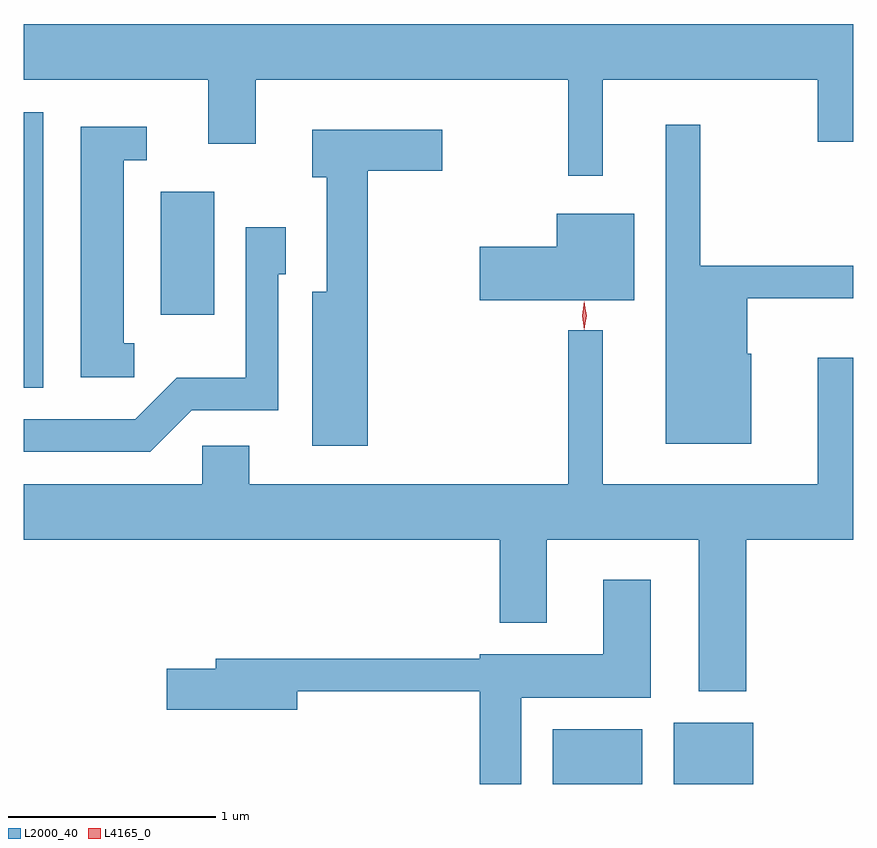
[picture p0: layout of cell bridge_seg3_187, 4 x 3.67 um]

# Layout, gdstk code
import gdstk
lib = gdstk.Library(unit=1e-6, precision=1e-09)
def R(c, l, rs):  # rectangles x0, y0, x1, y1
    for r in rs: c.add(gdstk.rectangle(r[:2], r[2:], *l))
def P(c, l, *ps):  # polygons
    for p in ps: c.add(gdstk.Polygon(p, *l))
L2000_40 = (2000, 40)
L4165_0 = (4165, 0)

bridge_seg3_187 = lib.new_cell('bridge_seg3_187')
R(bridge_seg3_187, L2000_40, [(873.136,1144.819,873.569,1145.084), (873.721,1144.819,874.104,1145.114), (870.586,1146.731,870.679,1148.059), (871.246,1147.081,871.504,1147.674)])
P(bridge_seg3_187, L2000_40, [(873.379,1148.216),(874.416,1148.216),(874.416,1147.916),(874.586,1147.916),(874.586,1148.484),(870.586,1148.484),(870.586,1148.216),(871.476,1148.216),(871.476,1147.906),(871.704,1147.906),(871.704,1148.216),(873.211,1148.216),(873.211,1147.753),(873.379,1147.753)],
  [(874.094,1146.894),(874.074,1146.894),(874.074,1147.161),(874.586,1147.161),(874.586,1147.319),(873.849,1147.319),(873.849,1147.998),(873.681,1147.998),(873.681,1146.461),(874.094,1146.461)],
  [(871.118,1146.944),(871.069,1146.944),(871.069,1147.826),(871.178,1147.826),(871.178,1147.989),(870.861,1147.989),(870.861,1146.781),(871.118,1146.781)],
  [(872.244,1147.776),(872.604,1147.776),(872.604,1147.974),(871.976,1147.974),(871.976,1147.746),(872.046,1147.746),(872.046,1147.194),(871.976,1147.194),(871.976,1146.451),(872.244,1146.451)],
  [(873.529,1147.569),(873.156,1147.569),(873.156,1147.409),(872.786,1147.409),(872.786,1147.151),(873.529,1147.151)],
  [(871.397,1146.621),(871.814,1146.621),(871.814,1147.276),(871.849,1147.276),(871.849,1147.504),(871.656,1147.504),(871.656,1146.779),(871.324,1146.779),(871.124,1146.579),(870.586,1146.579),(870.586,1146.421),(871.197,1146.421)],
  [(871.446,1146.449),(871.446,1146.264),(870.586,1146.264),(870.586,1145.996),(872.881,1145.996),(872.881,1145.596),(873.109,1145.596),(873.109,1145.996),(873.841,1145.996),(873.841,1145.266),(874.069,1145.266),(874.069,1145.996),(874.586,1145.996),(874.586,1146.874),(874.416,1146.874),(874.416,1146.264),(873.379,1146.264),(873.379,1147.008),(873.211,1147.008),(873.211,1146.264),(871.674,1146.264),(871.674,1146.449)],
  [(872.984,1145.236),(873.609,1145.236),(873.609,1145.804),(873.381,1145.804),(873.381,1145.444),(872.786,1145.444),(872.786,1145.424),(871.511,1145.424),(871.511,1145.374),(871.276,1145.374),(871.276,1145.176),(871.904,1145.176),(871.904,1145.266),(872.786,1145.266),(872.786,1144.819),(872.984,1144.819)])
P(bridge_seg3_187, L4165_0, [(873.29,1147.013),(873.289,1147.014),(873.28,1147.076),(873.289,1147.139),(873.289,1147.14),(873.29,1147.139),(873.3,1147.076),(873.29,1147.014)],
  [(873.289,1147.01),(873.28,1147.078),(873.289,1147.146),(873.289,1147.146),(873.29,1147.146),(873.299,1147.078),(873.29,1147.01),(873.29,1147.01)])

lib.write_gds('bridge_seg3_187.gds')
